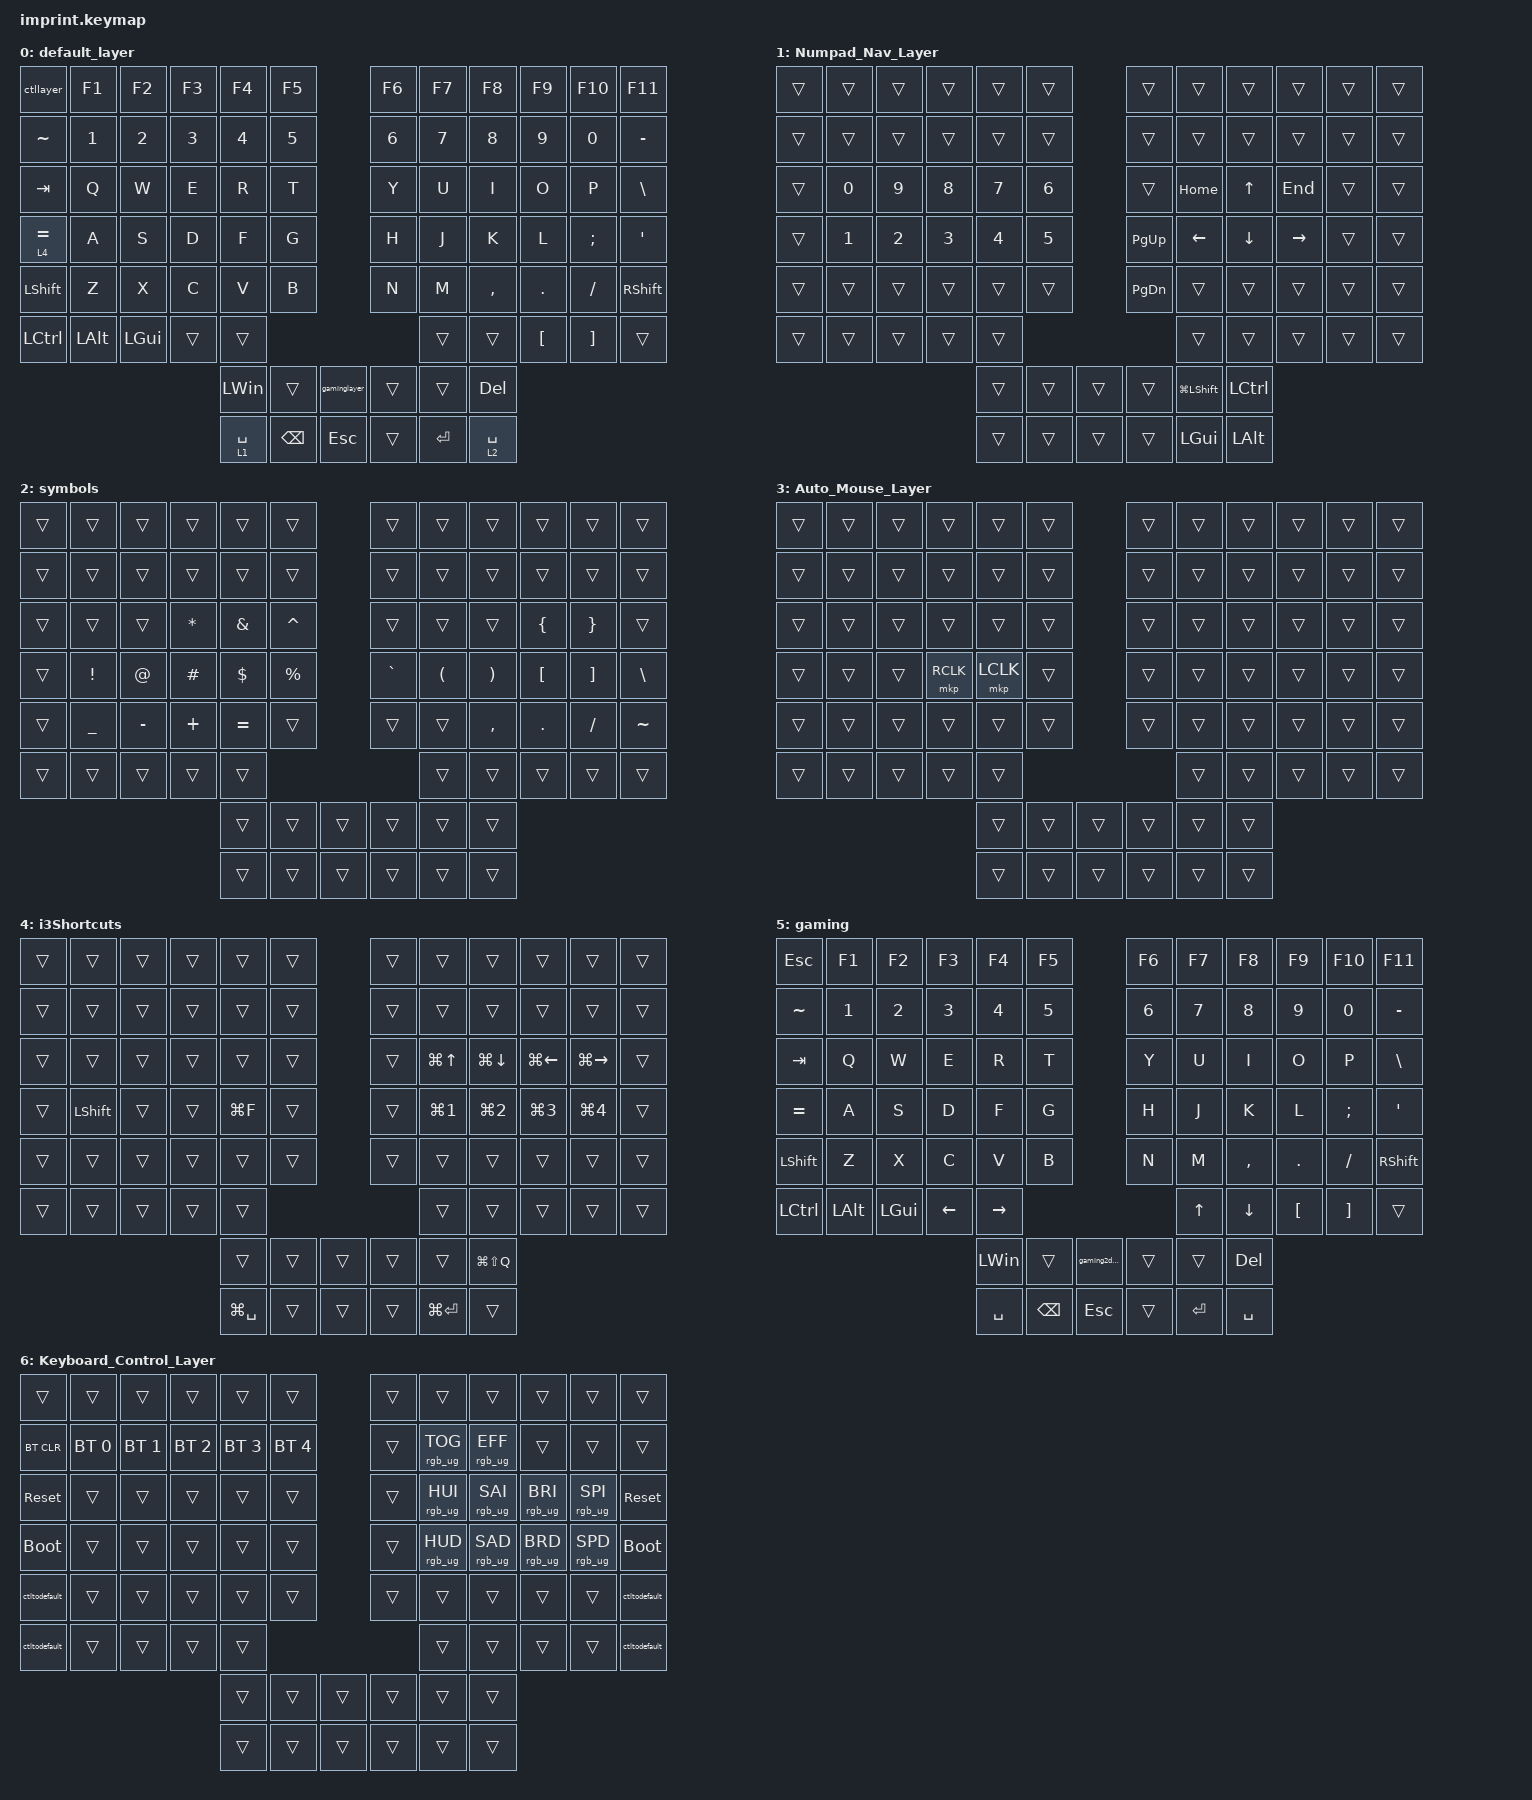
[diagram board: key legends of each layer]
#include <input/processors.dtsi>
#include <dt-bindings/zmk/input_transform.h>
#include <behaviors.dtsi>
#include <dt-bindings/zmk/bt.h>
#include <dt-bindings/zmk/keys.h>
#include <dt-bindings/zmk/pointing.h>
#include <dt-bindings/zmk/rgb.h>

/ {
    chosen { zmk,matrix-transform = &imprint_function_row_full_bottom_row; };

    macros {
        gaminglayer: gaminglayer {
            compatible = "zmk,behavior-macro";
            #binding-cells = <0>;
            bindings = <&to 5 &rgb_ug RGB_COLOR_HSB(118,84,49) &rgb_ug RGB_ON>;
            label = "GAMINGLAYER";
        };

        gaming2default: gaming2default {
            compatible = "zmk,behavior-macro";
            #binding-cells = <0>;
            bindings = <&to 0 &rgb_ug RGB_OFF>;
            label = "GAMING2DEFAULT";
        };

        ctllayer: ctllayer {
            compatible = "zmk,behavior-macro";
            #binding-cells = <0>;
            bindings = <&to 6 &rgb_ug RGB_COLOR_HSB(359,84,49) &rgb_ug RGB_ON>;
            label = "CTLLAYER";
        };

        ctltodefault: ctltodefault {
            compatible = "zmk,behavior-macro";
            #binding-cells = <0>;
            bindings = <&to 0 &rgb_ug RGB_OFF>;
            label = "CTLTODEFAULT";
        };
    };

    keymap {
        compatible = "zmk,keymap";

        default_layer {
            bindings = <
&ctllayer         &kp F1        &kp F2    &kp F3  &kp F4        &kp F5                         &kp F6  &kp F7     &kp F8       &kp F9            &kp F10            &kp F11
&kp TILDE         &kp N1        &kp N2    &kp N3  &kp N4        &kp N5                         &kp N6  &kp N7     &kp N8       &kp N9            &kp N0             &kp MINUS
&kp TAB           &kp Q         &kp W     &kp E   &kp R         &kp T                          &kp Y   &kp U      &kp I        &kp O             &kp P              &kp BSLH
&lt 4 EQUAL       &kp A         &kp S     &kp D   &kp F         &kp G                          &kp H   &kp J      &kp K        &kp L             &kp SEMI           &kp SQT
&kp LSHFT         &kp Z         &kp X     &kp C   &kp V         &kp B                          &kp N   &kp M      &kp COMMA    &kp DOT           &kp FSLH           &kp RSHFT
&kp LEFT_CONTROL  &kp LEFT_ALT  &kp LGUI  &trans  &trans                                               &trans     &trans       &kp LEFT_BRACKET  &kp RIGHT_BRACKET  &trans
                                                  &kp LEFT_WIN  &trans         &gaminglayer    &trans  &trans     &kp DEL
                                                  &lt 1 SPACE   &kp BACKSPACE  &kp ESCAPE      &trans  &kp ENTER  &lt 2 SPACE
            >;
        };

        Numpad_Nav_Layer {
            bindings = <
&trans  &trans        &trans  &trans  &trans  &trans            &trans         &trans              &trans        &trans     &trans  &trans
&trans  &trans        &trans  &trans  &trans  &trans            &trans         &trans              &trans        &trans     &trans  &trans
&trans  &kp NUMBER_0  &kp N9  &kp N8  &kp N7  &kp N6            &trans         &kp HOME            &kp UP        &kp END    &trans  &trans
&trans  &kp N1        &kp N2  &kp N3  &kp N4  &kp N5            &kp PAGE_UP    &kp LEFT            &kp DOWN      &kp RIGHT  &trans  &trans
&trans  &trans        &trans  &trans  &trans  &trans            &kp PAGE_DOWN  &trans              &trans        &trans     &trans  &trans
&trans  &trans        &trans  &trans  &trans                                   &trans              &trans        &trans     &trans  &trans
                                      &trans  &trans  &trans    &trans         &kp LG(LEFT_SHIFT)  &kp LCTRL
                                      &trans  &trans  &trans    &trans         &kp LEFT_GUI        &kp LEFT_ALT
            >;
        };

        symbols {
            bindings = <
&trans  &trans     &trans       &trans        &trans      &trans                 &trans     &trans                &trans                 &trans            &trans             &trans
&trans  &trans     &trans       &trans        &trans      &trans                 &trans     &trans                &trans                 &trans            &trans             &trans
&trans  &trans     &trans       &kp ASTERISK  &kp AMPS    &kp CARET              &trans     &trans                &trans                 &kp LEFT_BRACE    &kp RIGHT_BRACE    &trans
&trans  &kp EXCL   &kp AT_SIGN  &kp HASH      &kp DOLLAR  &kp PERCENT            &kp GRAVE  &kp LEFT_PARENTHESIS  &kp RIGHT_PARENTHESIS  &kp LEFT_BRACKET  &kp RIGHT_BRACKET  &kp BACKSLASH
&trans  &kp UNDER  &kp MINUS    &kp PLUS      &kp EQUAL   &trans                 &trans     &trans                &kp COMMA              &kp PERIOD        &kp SLASH          &kp TILDE
&trans  &trans     &trans       &trans        &trans                                        &trans                &trans                 &trans            &trans             &trans
                                              &trans      &trans       &trans    &trans     &trans                &trans
                                              &trans      &trans       &trans    &trans     &trans                &trans
            >;
        };

        Auto_Mouse_Layer {
            bindings = <
&trans  &trans  &trans  &trans     &trans     &trans            &trans  &trans  &trans  &trans  &trans  &trans
&trans  &trans  &trans  &trans     &trans     &trans            &trans  &trans  &trans  &trans  &trans  &trans
&trans  &trans  &trans  &trans     &trans     &trans            &trans  &trans  &trans  &trans  &trans  &trans
&trans  &trans  &trans  &mkp RCLK  &mkp LCLK  &trans            &trans  &trans  &trans  &trans  &trans  &trans
&trans  &trans  &trans  &trans     &trans     &trans            &trans  &trans  &trans  &trans  &trans  &trans
&trans  &trans  &trans  &trans     &trans                               &trans  &trans  &trans  &trans  &trans
                                   &trans     &trans  &trans    &trans  &trans  &trans
                                   &trans     &trans  &trans    &trans  &trans  &trans
            >;
        };

        i3Shortcuts {
            bindings = <
&trans  &trans          &trans  &trans  &trans         &trans            &trans  &trans            &trans            &trans            &trans            &trans
&trans  &trans          &trans  &trans  &trans         &trans            &trans  &trans            &trans            &trans            &trans            &trans
&trans  &trans          &trans  &trans  &trans         &trans            &trans  &kp LG(UP_ARROW)  &kp LG(DOWN)      &kp LG(LEFT)      &kp LG(RIGHT)     &trans
&trans  &kp LEFT_SHIFT  &trans  &trans  &kp LG(F)      &trans            &trans  &kp LG(NUMBER_1)  &kp LG(NUMBER_2)  &kp LG(NUMBER_3)  &kp LG(NUMBER_4)  &trans
&trans  &trans          &trans  &trans  &trans         &trans            &trans  &trans            &trans            &trans            &trans            &trans
&trans  &trans          &trans  &trans  &trans                                   &trans            &trans            &trans            &trans            &trans
                                        &trans         &trans  &trans    &trans  &trans            &kp LG(LS(Q))
                                        &kp LG(SPACE)  &trans  &trans    &trans  &kp LG(RET)       &trans
            >;
        };

        gaming {
            bindings = <
&kp ESC           &kp F1        &kp F2    &kp F3          &kp F4           &kp F5                            &kp F6  &kp F7        &kp F8          &kp F9            &kp F10            &kp F11
&kp TILDE         &kp N1        &kp N2    &kp N3          &kp N4           &kp N5                            &kp N6  &kp N7        &kp N8          &kp N9            &kp N0             &kp MINUS
&kp TAB           &kp Q         &kp W     &kp E           &kp R            &kp T                             &kp Y   &kp U         &kp I           &kp O             &kp P              &kp BSLH
&kp EQUAL         &kp A         &kp S     &kp D           &kp F            &kp G                             &kp H   &kp J         &kp K           &kp L             &kp SEMI           &kp SQT
&kp LSHFT         &kp Z         &kp X     &kp C           &kp V            &kp B                             &kp N   &kp M         &kp COMMA       &kp DOT           &kp FSLH           &kp RSHFT
&kp LEFT_CONTROL  &kp LEFT_ALT  &kp LGUI  &kp LEFT_ARROW  &kp RIGHT_ARROW                                            &kp UP_ARROW  &kp DOWN_ARROW  &kp LEFT_BRACKET  &kp RIGHT_BRACKET  &trans
                                                          &kp LEFT_WIN     &trans         &gaming2default    &trans  &trans        &kp DEL
                                                          &kp SPACE        &kp BACKSPACE  &kp ESCAPE         &trans  &kp ENTER     &kp SPACE
            >;
        };

        Keyboard_Control_Layer {
            bindings = <
&trans         &trans        &trans        &trans        &trans        &trans                  &trans  &trans           &trans           &trans           &trans           &trans
&bt BT_CLR     &bt BT_SEL 0  &bt BT_SEL 1  &bt BT_SEL 2  &bt BT_SEL 3  &bt BT_SEL 4            &trans  &rgb_ug RGB_TOG  &rgb_ug RGB_EFF  &trans           &trans           &trans
&sys_reset     &trans        &trans        &trans        &trans        &trans                  &trans  &rgb_ug RGB_HUI  &rgb_ug RGB_SAI  &rgb_ug RGB_BRI  &rgb_ug RGB_SPI  &sys_reset
&bootloader    &trans        &trans        &trans        &trans        &trans                  &trans  &rgb_ug RGB_HUD  &rgb_ug RGB_SAD  &rgb_ug RGB_BRD  &rgb_ug RGB_SPD  &bootloader
&ctltodefault  &trans        &trans        &trans        &trans        &trans                  &trans  &trans           &trans           &trans           &trans           &ctltodefault
&ctltodefault  &trans        &trans        &trans        &trans                                        &trans           &trans           &trans           &trans           &ctltodefault
                                                         &trans        &trans        &trans    &trans  &trans           &trans
                                                         &trans        &trans        &trans    &trans  &trans           &trans
            >;
        };
    };
};

//right hand trackball configuration

&trackball_peripheral_listener {
    input-processors =
        // this gets it to the default installation orientation,,,,,,,,,
        //<&zip_xy_transform INPUT_TRANSFORM_XY_SWAP>;,,,,,,,
        // activate layer 3 within 500ms of the trackball moving,,,,,,,
        <&zip_temp_layer 3 500 >;
};

//left hand trackball configuration

&trackball_central_listener {
    input-processors =
        // this gets it to the default installation orientation,,,,,,,,,,
        // <&zip_xy_transform INPUT_TRANSFORM_XY_SWAP>,,,,,,,,,
        // multiply sensitivity by 1, divide by 3 (make it slower for scrolling),,,,,,,,,,
        <&zip_xy_scaler 1 5 >,
        // make this trackball output scrolling events by default instead of cursor movement,,,,,,,,,,
        <&zip_xy_to_scroll_mapper>,
        // invert vertical scrolling so that the view moves in the same direction as the top of the trackball.,,,,,,,,,,
        <&zip_scroll_transform INPUT_TRANSFORM_Y_INVERT>;
};
